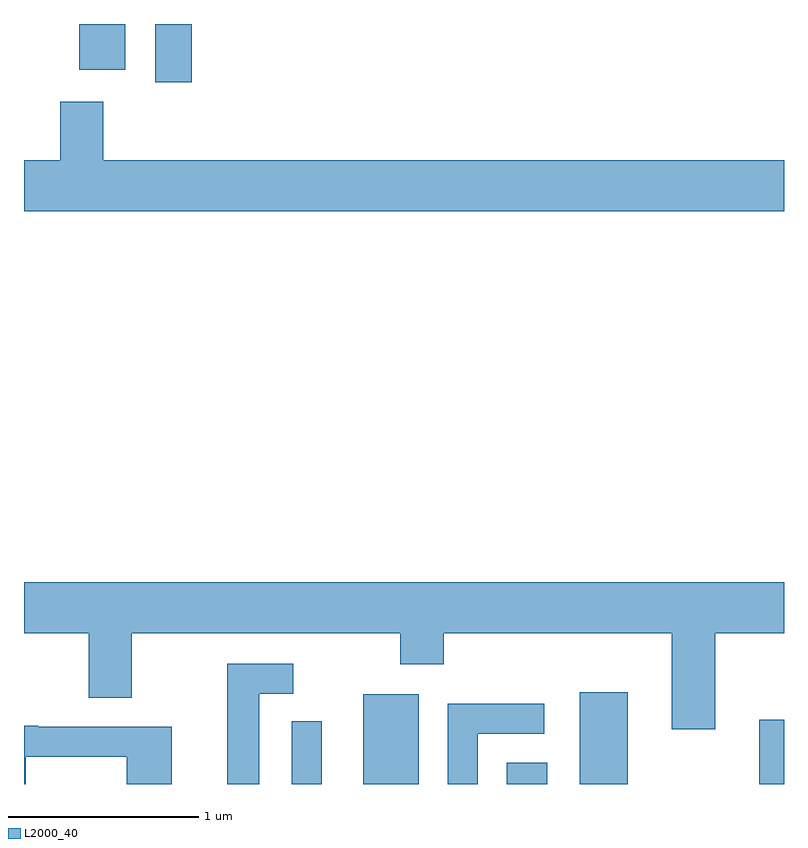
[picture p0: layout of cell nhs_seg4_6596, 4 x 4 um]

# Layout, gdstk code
import gdstk
lib = gdstk.Library(unit=1e-6, precision=1e-09)
def R(c, l, rs):  # rectangles x0, y0, x1, y1
    for r in rs: c.add(gdstk.rectangle(r[:2], r[2:], *l))
def P(c, l, *ps):  # polygons
    for p in ps: c.add(gdstk.Polygon(p, *l))
L2000_40 = (2000, 40)

nhs_seg4_6596 = lib.new_cell('nhs_seg4_6596')
R(nhs_seg4_6596, L2000_40, [(381.021,1253.982,381.179,1254.313), (381.396,1253.982,381.689,1254.454), (382.151,1253.982,382.364,1254.094), (382.536,1253.982,382.789,1254.464), (383.481,1253.982,383.611,1254.319), (380.301,1257.676,380.494,1257.982), (379.901,1257.741,380.144,1257.982)])
P(nhs_seg4_6596, L2000_40, [(383.611,1257.264),(380.029,1257.264),(380.029,1257.574),(379.801,1257.574),(379.801,1257.264),(379.611,1257.264),(379.611,1256.996),(383.611,1256.996)],
  [(383.249,1254.776),(383.611,1254.776),(383.611,1255.044),(379.611,1255.044),(379.611,1254.776),(379.951,1254.776),(379.951,1254.436),(380.179,1254.436),(380.179,1254.776),(381.591,1254.776),(381.591,1254.611),(381.819,1254.611),(381.819,1254.776),(383.021,1254.776),(383.021,1254.271),(383.249,1254.271)],
  [(380.849,1254.456),(381.028,1254.456),(381.028,1254.614),(380.681,1254.614),(380.681,1253.982),(380.849,1253.982)],
  [(381.999,1254.246),(382.348,1254.246),(382.348,1254.404),(381.841,1254.404),(381.841,1253.982),(381.999,1253.982)],
  [(379.619,1254.126),(380.151,1254.126),(380.151,1253.982),(380.389,1253.982),(380.389,1254.284),(379.685,1254.284),(379.685,1254.289),(379.611,1254.289),(379.611,1253.982),(379.619,1253.982)])

lib.write_gds('nhs_seg4_6596.gds')
